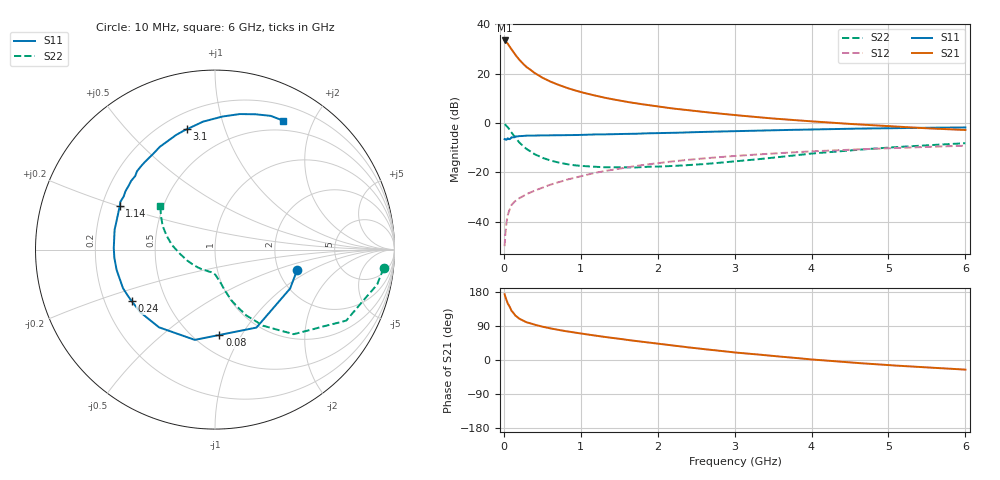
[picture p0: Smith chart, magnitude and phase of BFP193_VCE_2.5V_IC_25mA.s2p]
! Infineon Technologies  Discrete & RF Semiconductors
! BFP193
! VCE = 2.5 V,  IC =  25 mA
! Common Emitter S-Parameters:  Jan 2016
# GHz  S  MA  R  50
!  f  S11  S21  S12  S22
! GHz  MAG  ANG  MAG  ANG  MAG  ANG  MAG  ANG
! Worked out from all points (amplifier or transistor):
!   210 points, 10 MHz to 6 GHz, reference 50 ohm
!   highest |S21| = 33.5 dB at 10 MHz (marker M1)
!   |S21| within 3 dB of that: start of sweep to 86.12 MHz
!   unconditionally stable (mu >= 1): 674.8 MHz to 3.831 GHz
!   at 185 MHz: K = 0.55, MSG = 28.5 dB, |S12| = -30.8 dB
!   at 1.52 GHz: K = 1.07, MAG = 12.1 dB, |S12| = -18.3 dB
!   at 6 GHz: K = 0.93, MSG = 3.2 dB, |S12| = -9.2 dB
!   S11 on the Smith chart (normalised r, x): 10 MHz: 2.52, -0.75; 80 MHz: 0.66, -0.81; 240 MHz: 0.32, -0.26; 1.14 GHz: 0.27, +0.20; 3.1 GHz: 0.29, +0.75; 6 GHz: 0.38, +1.59
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0.01  0.4711 -14.2  47.13 173.7  0.0032 83.5  0.9447 -6.3
0.02  0.4714 -27.4  45.58 166.1  0.0057 80.5  0.9243 -12.1
0.05  0.492 -62.0  40.63 149.5  0.0135 69.4  0.8314 -28.4
0.08  0.4762 -87.0  34.45 138.9  0.0185 60.8  0.709 -38.5
0.1  0.5154 -102.6  31.19 129.7  0.0219 57.3  0.6433 -47.1
0.15  0.5338 -125.8  23.98 117.0  0.0264 52.5  0.5008 -57.8
0.2  0.5433 -140.1  19.27 109.1  0.03 50.6  0.4068 -64.5
0.24  0.5459 -148.4  16.5 104.7  0.0326 51.2  0.3523 -67.9
0.3  0.5559 -157.3  13.45 99.2  0.0365 52.8  0.2954 -72.2
0.4  0.5597 -168.3  10.33 92.9  0.0425 54.9  0.2338 -76.4
0.5  0.5626 -175.3  8.306 88.0  0.0488 56.6  0.1975 -79.4
0.6  0.5641 179.1  6.975 83.6  0.056 57.9  0.1748 -82.2
0.7  0.5656 173.3  6.018 79.6  0.0625 58.8  0.1595 -84.7
0.8  0.5702 168.8  5.269 76.2  0.0698 59.0  0.1486 -87.2
1.02  0.5753 160.0  4.167 69.4  0.0852 59.0  0.135 -92.1
1.14  0.5842 155.4  3.748 65.8  0.0943 58.7  0.131 -95.5
1.6  0.604 140.6  2.684 53.1  0.127 55.1  0.1265 -109.4
2.02  0.6253 128.8  2.143 42.7  0.1555 50.6  0.1313 -123.7
3.1  0.6891 103.0  1.405 18.2  0.2204 37.8  0.1722 -162.3
4.1  0.7466 85.3  1.056 -0.0  0.2711 26.3  0.2479 171.8
5.1  0.7904 72.1  0.849 -14.8  0.3127 15.3  0.3253 154.3
6  0.8126 62.2  0.723 -25.4  0.3474 5.7  0.3901 141.3
